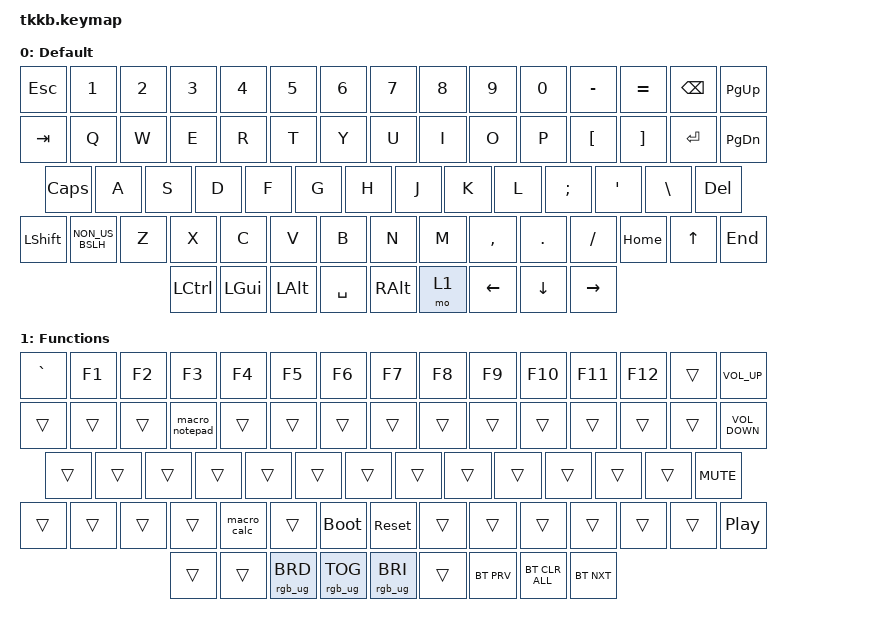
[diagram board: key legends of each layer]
#include <behaviors.dtsi>
#include <dt-bindings/zmk/keys.h>
#include <dt-bindings/zmk/bt.h>
#include <dt-bindings/zmk/rgb.h>

//check implementation on the following
/* #include <behaviors.dtsi>
    #include <dt-bindings/zmk/keys.h>
    #include <dt-bindings/zmk/rgb.h>

    / {
        keymap {
            compatible = "zmk,keymap";
            default_layer {
                bindings = <
                    &kp Q    &kp W
                    &kp A    &rgb_ug RGB_TOG // Toggles all 4 LEDs manually
                >;
            };
        };
    };
*/

/ {
  macros {
        macro_calc: macro_calc {
            compatible = "zmk,behavior-macro";
            #binding-cells = <0>;
            bindings
              = <&macro_press &kp LGUI>
              , <&macro_tap &kp R>
              , <&macro_release &kp LGUI>
              , <&macro_wait_time 50>
              , <&macro_tap &kp C>
              , <&macro_tap &kp A>
              , <&macro_tap &kp L>
              , <&macro_tap &kp C>
              , <&macro_wait_time 100>
              , <&macro_tap &kp ENTER>
              ;
        };
        macro_notepad: macro_notepad {
            compatible = "zmk,behavior-macro";
            #binding-cells = <0>;
            bindings
              = <&macro_press &kp LGUI>
              , <&macro_tap &kp R>
              , <&macro_release &kp LGUI>
              , <&macro_wait_time 50>
              , <&macro_tap &kp N>
              , <&macro_tap &kp O>
              , <&macro_tap &kp T>
              , <&macro_tap &kp E>
              , <&macro_tap &kp P>
              , <&macro_tap &kp A>
              , <&macro_tap &kp D>
              , <&macro_wait_time 100>
              , <&macro_tap &kp ENTER>
              ;
        };
  };

	keymap {
		compatible = "zmk,keymap";
        default {
          display-name = "Default";
        // ------------------------------------------------------------------------------------------------
        // | ESC |  1  |  2  |  3  |  4  |  5  |  6  |  7  |  8  |  9  |  0  |  -  |  =  |   BSPC   | DEL |
        // | TAB   |  Q  |  W  |  E  |  R  |  T  |  Y  |  U  |  I  |  O  |  P  |  [  |  ]  |   \    | INS |
        // | CAPS   |  A  |  S  |  D  |  F  |  G  |  H  |  J  |  K  |  L  |  ;  |  '  |    ENTER    | PGUP|
        // |  SHIFT   |  Z  |  X  |  C  |  V  |  B  |  N  |  M  |  ,  |  .  |  /  |      pos1| UP  | end  |
        // |  CTL  |  WIN  |  ALT  |             SPACE                | ALT |  Fn    |   LEFT| DOWN|RIGHT |
        // ------------------------------------------------------------------------------------------------
      bindings = <
        &kp ESC &kp N1 &kp N2 &kp N3 &kp N4 &kp N5 &kp N6 &kp N7 &kp N8 &kp N9 &kp N0 &kp MINUS &kp EQUAL       &kp BSPC  &kp PG_UP
        &kp TAB   &kp Q  &kp W  &kp E  &kp R  &kp T  &kp Y  &kp U  &kp  I    &kp  O  &kp  P   &kp LBKT &kp RBKT &kp RET   &kp PG_DN
        &kp CLCK   &kp A  &kp S  &kp D  &kp F  &kp G  &kp H  &kp J  &kp  K    &kp  L  &kp SEMI &kp SQT          &kp BSLH  &kp DEL
        &kp LSHFT &kp NON_US_BSLH &kp Z  &kp X  &kp C  &kp V  &kp B  &kp N  &kp M &kp COMMA &kp DOT &kp FSLH   &kp HOME &kp UP  &kp END
        &kp LCTRL &kp LGUI &kp LALT            &kp SPACE                   &kp RALT  &mo 1             &kp LEFT &kp DOWN  &kp RIGHT
        >;
      };

        functions {
          display-name = "Functions";
        // ------------------------------------------------------------------------------------------------
        // | ESC |  1  |  2  |  3  |  4  |  5  |  6  |  7  |  8  |  9  |  0  |  \  |    ^  | BSPC   | DEL |
        // | TAB   |  Q  |  W  |  E  |  R  |  T  |  Y  |  U  |  I  |  O  |  P  |  [  |  ]  |   \    | INS |
        // | CAPS   |  A  |  S  |  D  |  F  |  G  |  H  |  J  |  K  |  L  |  ;  |  '  |    ENTER    | PGUP|
        // |  SHIFT   |  Z  |  X  |  C  |  V  |  B  |  N  |  M  |  ,  |  .  |  /  |      pos1| UP  | end  |
        // |  CTL  |  WIN  |  ALT  |             SPACE                | ALT |  Fn    |   LEFT| DOWN|RIGHT |
        // ------------------------------------------------------------------------------------------------
      bindings = <
        &kp GRAVE &kp F1 &kp F2 &kp F3 &kp F4 &kp F5 &kp F6 &kp F7 &kp F8  &kp F9  &kp F10 &kp F11 &kp F12               &trans          &kp C_VOLUME_UP
        &trans   &trans  &trans  &macro_notepad  &trans   &trans  &trans  &trans  &trans   &trans  &trans  &trans &trans         &trans          &kp C_VOLUME_DOWN
        &trans   &trans  &trans  &trans  &trans   &trans  &trans  &trans  &trans   &trans  &trans  &trans                &trans          &kp C_MUTE
        &trans &trans   &trans  &trans  &macro_calc  &trans   &bootloader  &sys_reset  &trans  &trans   &trans  &trans  &trans         &trans          &kp C_PLAY_PAUSE
        &trans &trans   &rgb_ug RGB_BRD                &rgb_ug RGB_TOG                   &rgb_ug RGB_BRI  &trans                     &bt BT_PRV     &bt BT_CLR_ALL  &bt BT_NXT
      >;
        };
    };
};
